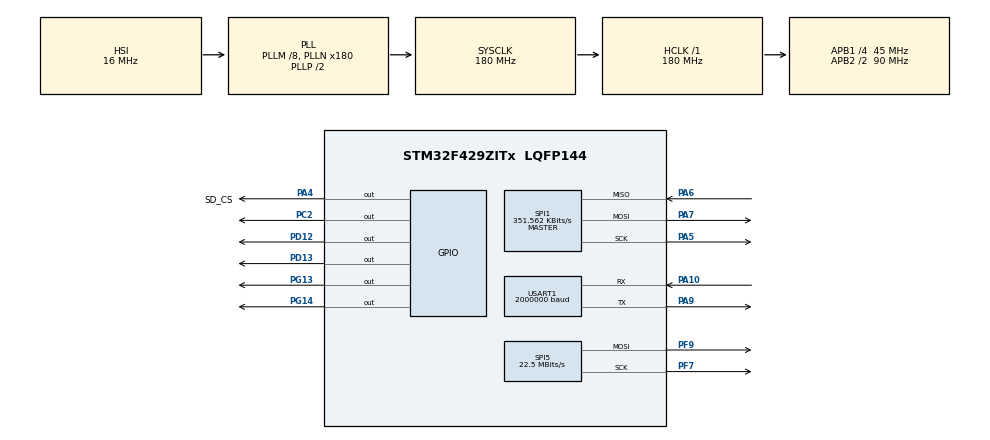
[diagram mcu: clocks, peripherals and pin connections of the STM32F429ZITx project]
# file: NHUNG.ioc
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Dma.Request0=SPI1_RX
Dma.Request1=SPI1_TX
Dma.Request2=USART1_TX
Dma.Request3=USART1_RX
Dma.Request4=SPI5_TX
Dma.SPI1_RX.0.Direction=DMA_PERIPH_TO_MEMORY
Dma.SPI1_RX.0.FIFOMode=DMA_FIFOMODE_DISABLE
Dma.SPI1_RX.0.Instance=DMA2_Stream0
Dma.SPI1_RX.0.MemDataAlignment=DMA_MDATAALIGN_BYTE
Dma.SPI1_RX.0.MemInc=DMA_MINC_ENABLE
Dma.SPI1_RX.0.Mode=DMA_NORMAL
Dma.SPI1_RX.0.PeriphDataAlignment=DMA_PDATAALIGN_BYTE
Dma.SPI1_RX.0.PeriphInc=DMA_PINC_DISABLE
Dma.SPI1_RX.0.Priority=DMA_PRIORITY_HIGH
Dma.SPI1_TX.1.Direction=DMA_MEMORY_TO_PERIPH
Dma.SPI1_TX.1.FIFOMode=DMA_FIFOMODE_DISABLE
Dma.SPI1_TX.1.Instance=DMA2_Stream3
Dma.SPI1_TX.1.MemDataAlignment=DMA_MDATAALIGN_BYTE
Dma.SPI1_TX.1.MemInc=DMA_MINC_ENABLE
Dma.SPI1_TX.1.Mode=DMA_NORMAL
Dma.SPI1_TX.1.PeriphDataAlignment=DMA_PDATAALIGN_BYTE
Dma.SPI1_TX.1.PeriphInc=DMA_PINC_DISABLE
Dma.SPI1_TX.1.Priority=DMA_PRIORITY_HIGH
Dma.SPI5_TX.4.Direction=DMA_MEMORY_TO_PERIPH
Dma.SPI5_TX.4.FIFOMode=DMA_FIFOMODE_DISABLE
Dma.SPI5_TX.4.Instance=DMA2_Stream4
Dma.SPI5_TX.4.MemDataAlignment=DMA_MDATAALIGN_BYTE
Dma.SPI5_TX.4.MemInc=DMA_MINC_ENABLE
Dma.SPI5_TX.4.Mode=DMA_NORMAL
Dma.SPI5_TX.4.PeriphDataAlignment=DMA_PDATAALIGN_BYTE
Dma.SPI5_TX.4.PeriphInc=DMA_PINC_DISABLE
Dma.SPI5_TX.4.Priority=DMA_PRIORITY_LOW
Dma.USART1_RX.3.Direction=DMA_PERIPH_TO_MEMORY
Dma.USART1_RX.3.FIFOMode=DMA_FIFOMODE_DISABLE
Dma.USART1_RX.3.Instance=DMA2_Stream2
Dma.USART1_RX.3.MemDataAlignment=DMA_MDATAALIGN_BYTE
Dma.USART1_RX.3.MemInc=DMA_MINC_ENABLE
Dma.USART1_RX.3.Mode=DMA_CIRCULAR
Dma.USART1_RX.3.PeriphDataAlignment=DMA_PDATAALIGN_BYTE
Dma.USART1_RX.3.PeriphInc=DMA_PINC_DISABLE
Dma.USART1_RX.3.Priority=DMA_PRIORITY_LOW
Dma.USART1_TX.2.Direction=DMA_MEMORY_TO_PERIPH
Dma.USART1_TX.2.FIFOMode=DMA_FIFOMODE_DISABLE
Dma.USART1_TX.2.Instance=DMA2_Stream7
Dma.USART1_TX.2.MemDataAlignment=DMA_MDATAALIGN_BYTE
Dma.USART1_TX.2.MemInc=DMA_MINC_ENABLE
Dma.USART1_TX.2.Mode=DMA_NORMAL
Dma.USART1_TX.2.PeriphDataAlignment=DMA_PDATAALIGN_BYTE
Dma.USART1_TX.2.PeriphInc=DMA_PINC_DISABLE
Dma.USART1_TX.2.Priority=DMA_PRIORITY_LOW
FATFS._USE_EXPAND=0
FATFS._USE_LABEL=1
FATFS._USE_LFN=3
FREERTOS.Tasks01=defaultTask,24,128,StartDefaultTask,Default,NULL,Dynamic,NULL,NULL
FREERTOS.configCHECK_FOR_STACK_OVERFLOW=2
FREERTOS.configTOTAL_HEAP_SIZE=65536
FREERTOS.configUSE_MALLOC_FAILED_HOOK=1
FREERTOS.configUSE_NEWLIB_REENTRANT=1
Mcu.Family=STM32F4
Mcu.Name=STM32F429ZITx
Mcu.Package=LQFP144
NVIC.DMA2_Stream0_IRQn=true\:5\:0\:false\:true\:true\:2\:true\:false\:true\:true
NVIC.DMA2_Stream2_IRQn=true\:5\:0\:false\:false\:true\:true\:false\:true\:true
NVIC.DMA2_Stream3_IRQn=true\:5\:0\:false\:true\:true\:3\:true\:false\:true\:true
NVIC.DMA2_Stream4_IRQn=true\:5\:0\:false\:false\:true\:true\:false\:true\:true
NVIC.DMA2_Stream7_IRQn=true\:5\:0\:false\:false\:true\:true\:false\:true\:true
NVIC.PriorityGroup=NVIC_PRIORITYGROUP_4
NVIC.SPI1_IRQn=true\:5\:0\:false\:true\:true\:1\:true\:true\:true\:true
NVIC.TIM6_DAC_IRQn=true\:15\:0\:false\:false\:true\:false\:false\:true\:true
NVIC.TimeBase=TIM6_DAC_IRQn
NVIC.TimeBaseIP=TIM6
NVIC.USART1_IRQn=true\:5\:0\:false\:false\:true\:true\:true\:true\:true
PA10.Mode=Asynchronous
PA10.Signal=USART1_RX
PA13.Mode=Serial_Wire
PA13.Signal=SYS_JTMS-SWDIO
PA14.Mode=Serial_Wire
PA14.Signal=SYS_JTCK-SWCLK
PA4.GPIO_Label=SD_CS
PA4.PinState=GPIO_PIN_SET
PA4.Signal=GPIO_Output
PA5.Mode=Full_Duplex_Master
PA5.Signal=SPI1_SCK
PA6.Mode=Full_Duplex_Master
PA6.Signal=SPI1_MISO
PA7.Mode=Full_Duplex_Master
PA7.Signal=SPI1_MOSI
PA9.Mode=Asynchronous
PA9.Signal=USART1_TX
PC2.Signal=GPIO_Output
PD12.Signal=GPIO_Output
PD13.Signal=GPIO_Output
PF7.Mode=TX_Only_Simplex_Unidirect_Master
PF7.Signal=SPI5_SCK
PF9.Mode=TX_Only_Simplex_Unidirect_Master
PF9.Signal=SPI5_MOSI
PG13.Signal=GPIO_Output
PG14.Signal=GPIO_Output
PH0/OSC_IN.Mode=HSE-External-Oscillator
PH0/OSC_IN.Signal=RCC_OSC_IN
PH1/OSC_OUT.Mode=HSE-External-Oscillator
PH1/OSC_OUT.Signal=RCC_OSC_OUT
ProjectManager.HeapSize=0x200
ProjectManager.StackSize=0x400
ProjectManager.TargetToolchain=STM32CubeIDE
RCC.48MHZClocksFreq_Value=90000000
RCC.AHBFreq_Value=180000000
RCC.APB1CLKDivider=RCC_HCLK_DIV4
RCC.APB1Freq_Value=45000000
RCC.APB1TimFreq_Value=90000000
RCC.APB2CLKDivider=RCC_HCLK_DIV2
RCC.APB2Freq_Value=90000000
RCC.APB2TimFreq_Value=180000000
RCC.CortexFreq_Value=180000000
RCC.HCLKFreq_Value=180000000
RCC.HSE_VALUE=25000000
RCC.HSI_VALUE=16000000
RCC.LSE_VALUE=32768
RCC.PLLM=8
RCC.PLLN=180
RCC.SYSCLKFreq_VALUE=180000000
RCC.SYSCLKSource=RCC_SYSCLKSOURCE_PLLCLK
RCC.VCOOutputFreq_Value=360000000
SPI1.BaudRatePrescaler=SPI_BAUDRATEPRESCALER_256
SPI1.CalculateBaudRate=351.562 KBits/s
SPI1.Direction=SPI_DIRECTION_2LINES
SPI1.Mode=SPI_MODE_MASTER
SPI1.VirtualType=VM_MASTER
SPI5.BaudRatePrescaler=SPI_BAUDRATEPRESCALER_4
SPI5.CalculateBaudRate=22.5 MBits/s
SPI5.Direction=SPI_DIRECTION_2LINES
SPI5.Mode=SPI_MODE_MASTER
SPI5.VirtualType=VM_MASTER
TIM7.Prescaler=89
USART1.BaudRate=2000000
USART1.VirtualMode=VM_ASYNC
VP_FATFS_VS_Generic.Mode=User_defined
VP_FREERTOS_VS_CMSIS_V2.Mode=CMSIS_V2
VP_SYS_VS_tim6.Mode=TIM6
VP_TIM7_VS_ClockSourceINT.Mode=Enable_Timer
board=custom

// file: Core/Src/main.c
/* USER CODE BEGIN Header */
/**
  ******************************************************************************
  * @file           : main.c
  * @brief          : Main program body
  ******************************************************************************
  * @attention
  *
  * Copyright (c) 2026 STMicroelectronics.
  * All rights reserved.
  *
  * This software is licensed under terms that can be found in the LICENSE file
  * in the root directory of this software component.
  * If no LICENSE file comes with this software, it is provided AS-IS.
  *
  ******************************************************************************
  */
/* USER CODE END Header */
#include "main.h"
#include "cmsis_os.h"
#include "fatfs.h"

/* USER CODE BEGIN Includes */
#include "app_main.h"
#include <string.h>
#include "ILI9341_STM32_Driver.h"
/* USER CODE END Includes */

SPI_HandleTypeDef hspi1;
SPI_HandleTypeDef hspi5;
DMA_HandleTypeDef hdma_spi1_rx;
DMA_HandleTypeDef hdma_spi1_tx;
DMA_HandleTypeDef hdma_spi5_tx;

TIM_HandleTypeDef htim7;

UART_HandleTypeDef huart1;
DMA_HandleTypeDef hdma_usart1_tx;
DMA_HandleTypeDef hdma_usart1_rx;

/* Definitions for defaultTask */
osThreadId_t defaultTaskHandle;
const osThreadAttr_t defaultTask_attributes = {
  .name = "defaultTask",
  .stack_size = 128 * 4,
  .priority = (osPriority_t) osPriorityNormal,
};
/* USER CODE BEGIN PV */
extern void LCD_SPI_TxCpltCallback(SPI_HandleTypeDef *hspi);
extern void SD_SPI_TxCpltCallback(SPI_HandleTypeDef *hspi);
/* USER CODE END PV */

void SystemClock_Config(void);
static void MX_GPIO_Init(void);
static void MX_DMA_Init(void);
static void MX_SPI1_Init(void);
static void MX_USART1_UART_Init(void);
static void MX_SPI5_Init(void);
static void MX_TIM7_Init(void);
void StartDefaultTask(void *argument);

static void MX_NVIC_Init(void);

int main(void)
{

  /* MCU Configuration--------------------------------------------------------*/

  /* Reset of all peripherals, Initializes the Flash interface and the Systick. */
  HAL_Init();

  /* Configure the system clock */
  SystemClock_Config();

  /* Initialize all configured peripherals */
  MX_GPIO_Init();
  MX_DMA_Init();
  MX_SPI1_Init();
  MX_FATFS_Init();
  MX_USART1_UART_Init();
  MX_SPI5_Init();
  MX_TIM7_Init();

  /* Initialize interrupts */
  MX_NVIC_Init();
  /* USER CODE BEGIN 2 */
  ILI9341_Init();
  ILI9341_SetRotation(SCREEN_HORIZONTAL_1);
  /* USER CODE END 2 */

  /* Init scheduler */
  osKernelInitialize();

  /* Create the thread(s) */
  /* creation of defaultTask */
  defaultTaskHandle = osThreadNew(StartDefaultTask, NULL, &defaultTask_attributes);

  /* Start scheduler */
  osKernelStart();

  /* We should never get here as control is now taken by the scheduler */

  /* Infinite loop */
  while (1)
  {

  }
}

void SystemClock_Config(void)
{
  RCC_OscInitTypeDef RCC_OscInitStruct = {0};
  RCC_ClkInitTypeDef RCC_ClkInitStruct = {0};

  /** Configure the main internal regulator output voltage
  */
  __HAL_RCC_PWR_CLK_ENABLE();
  __HAL_PWR_VOLTAGESCALING_CONFIG(PWR_REGULATOR_VOLTAGE_SCALE1);

  /** Initializes the RCC Oscillators according to the specified parameters
  * in the RCC_OscInitTypeDef structure.
  */
  RCC_OscInitStruct.OscillatorType = RCC_OSCILLATORTYPE_HSI;
  RCC_OscInitStruct.HSIState = RCC_HSI_ON;
  RCC_OscInitStruct.HSICalibrationValue = RCC_HSICALIBRATION_DEFAULT;
  RCC_OscInitStruct.PLL.PLLState = RCC_PLL_ON;
  RCC_OscInitStruct.PLL.PLLSource = RCC_PLLSOURCE_HSI;
  RCC_OscInitStruct.PLL.PLLM = 8;
  RCC_OscInitStruct.PLL.PLLN = 180;
  RCC_OscInitStruct.PLL.PLLP = RCC_PLLP_DIV2;
  RCC_OscInitStruct.PLL.PLLQ = 4;
  if (HAL_RCC_OscConfig(&RCC_OscInitStruct) != HAL_OK)
  {
    Error_Handler();
  }

  /** Activate the Over-Drive mode
  */
  if (HAL_PWREx_EnableOverDrive() != HAL_OK)
  {
    Error_Handler();
  }

  /** Initializes the CPU, AHB and APB buses clocks
  */
  RCC_ClkInitStruct.ClockType = RCC_CLOCKTYPE_HCLK|RCC_CLOCKTYPE_SYSCLK
                              |RCC_CLOCKTYPE_PCLK1|RCC_CLOCKTYPE_PCLK2;
  RCC_ClkInitStruct.SYSCLKSource = RCC_SYSCLKSOURCE_PLLCLK;
  RCC_ClkInitStruct.AHBCLKDivider = RCC_SYSCLK_DIV1;
  RCC_ClkInitStruct.APB1CLKDivider = RCC_HCLK_DIV4;
  RCC_ClkInitStruct.APB2CLKDivider = RCC_HCLK_DIV2;

  if (HAL_RCC_ClockConfig(&RCC_ClkInitStruct, FLASH_LATENCY_5) != HAL_OK)
  {
    Error_Handler();
  }
}

/**
  * @brief NVIC Configuration.
  * @retval None
  */
static void MX_NVIC_Init(void)
{
  /* SPI1_IRQn interrupt configuration */
  HAL_NVIC_SetPriority(SPI1_IRQn, 5, 0);
  HAL_NVIC_EnableIRQ(SPI1_IRQn);
  /* DMA2_Stream0_IRQn interrupt configuration */
  HAL_NVIC_SetPriority(DMA2_Stream0_IRQn, 5, 0);
  HAL_NVIC_EnableIRQ(DMA2_Stream0_IRQn);
  /* DMA2_Stream3_IRQn interrupt configuration */
  HAL_NVIC_SetPriority(DMA2_Stream3_IRQn, 5, 0);
  HAL_NVIC_EnableIRQ(DMA2_Stream3_IRQn);
}

static void MX_SPI1_Init(void)
{

  /* SPI1 parameter configuration*/
  hspi1.Instance = SPI1;
  hspi1.Init.Mode = SPI_MODE_MASTER;
  hspi1.Init.Direction = SPI_DIRECTION_2LINES;
  hspi1.Init.DataSize = SPI_DATASIZE_8BIT;
  hspi1.Init.CLKPolarity = SPI_POLARITY_LOW;
  hspi1.Init.CLKPhase = SPI_PHASE_1EDGE;
  hspi1.Init.NSS = SPI_NSS_SOFT;
  hspi1.Init.BaudRatePrescaler = SPI_BAUDRATEPRESCALER_256;
  hspi1.Init.FirstBit = SPI_FIRSTBIT_MSB;
  hspi1.Init.TIMode = SPI_TIMODE_DISABLE;
  hspi1.Init.CRCCalculation = SPI_CRCCALCULATION_DISABLE;
  hspi1.Init.CRCPolynomial = 10;
  if (HAL_SPI_Init(&hspi1) != HAL_OK)
  {
    Error_Handler();
  }

}

static void MX_SPI5_Init(void)
{

  /* SPI5 parameter configuration*/
  hspi5.Instance = SPI5;
  hspi5.Init.Mode = SPI_MODE_MASTER;
  hspi5.Init.Direction = SPI_DIRECTION_2LINES;
  hspi5.Init.DataSize = SPI_DATASIZE_8BIT;
  hspi5.Init.CLKPolarity = SPI_POLARITY_LOW;
  hspi5.Init.CLKPhase = SPI_PHASE_1EDGE;
  hspi5.Init.NSS = SPI_NSS_SOFT;
  hspi5.Init.BaudRatePrescaler = SPI_BAUDRATEPRESCALER_4;
  hspi5.Init.FirstBit = SPI_FIRSTBIT_MSB;
  hspi5.Init.TIMode = SPI_TIMODE_DISABLE;
  hspi5.Init.CRCCalculation = SPI_CRCCALCULATION_DISABLE;
  hspi5.Init.CRCPolynomial = 10;
  if (HAL_SPI_Init(&hspi5) != HAL_OK)
  {
    Error_Handler();
  }

}

static void MX_TIM7_Init(void)
{

  TIM_MasterConfigTypeDef sMasterConfig = {0};

  htim7.Instance = TIM7;
  htim7.Init.Prescaler = 89;
  htim7.Init.CounterMode = TIM_COUNTERMODE_UP;
  htim7.Init.Period = 65535;
  htim7.Init.AutoReloadPreload = TIM_AUTORELOAD_PRELOAD_DISABLE;
  if (HAL_TIM_Base_Init(&htim7) != HAL_OK)
  {
    Error_Handler();
  }
  sMasterConfig.MasterOutputTrigger = TIM_TRGO_RESET;
  sMasterConfig.MasterSlaveMode = TIM_MASTERSLAVEMODE_DISABLE;
  if (HAL_TIMEx_MasterConfigSynchronization(&htim7, &sMasterConfig) != HAL_OK)
  {
    Error_Handler();
  }

}

static void MX_USART1_UART_Init(void)
{

  huart1.Instance = USART1;
  huart1.Init.BaudRate = 2000000;
  huart1.Init.WordLength = UART_WORDLENGTH_8B;
  huart1.Init.StopBits = UART_STOPBITS_1;
  huart1.Init.Parity = UART_PARITY_NONE;
  huart1.Init.Mode = UART_MODE_TX_RX;
  huart1.Init.HwFlowCtl = UART_HWCONTROL_NONE;
  huart1.Init.OverSampling = UART_OVERSAMPLING_16;
  if (HAL_UART_Init(&huart1) != HAL_OK)
  {
    Error_Handler();
  }

}

static void MX_DMA_Init(void)
{

  /* DMA controller clock enable */
  __HAL_RCC_DMA2_CLK_ENABLE();

  /* DMA interrupt init */
  /* DMA2_Stream2_IRQn interrupt configuration */
  HAL_NVIC_SetPriority(DMA2_Stream2_IRQn, 5, 0);
  HAL_NVIC_EnableIRQ(DMA2_Stream2_IRQn);
  /* DMA2_Stream4_IRQn interrupt configuration */
  HAL_NVIC_SetPriority(DMA2_Stream4_IRQn, 5, 0);
  HAL_NVIC_EnableIRQ(DMA2_Stream4_IRQn);
  /* DMA2_Stream7_IRQn interrupt configuration */
  HAL_NVIC_SetPriority(DMA2_Stream7_IRQn, 5, 0);
  HAL_NVIC_EnableIRQ(DMA2_Stream7_IRQn);

}

static void MX_GPIO_Init(void)
{
  GPIO_InitTypeDef GPIO_InitStruct = {0};

  /* GPIO Ports Clock Enable */
  __HAL_RCC_GPIOF_CLK_ENABLE();
  __HAL_RCC_GPIOH_CLK_ENABLE();
  __HAL_RCC_GPIOC_CLK_ENABLE();
  __HAL_RCC_GPIOA_CLK_ENABLE();
  __HAL_RCC_GPIOD_CLK_ENABLE();
  __HAL_RCC_GPIOG_CLK_ENABLE();

  /*Configure GPIO pin Output Level */
  HAL_GPIO_WritePin(GPIOC, GPIO_PIN_2, GPIO_PIN_RESET);

  /*Configure GPIO pin Output Level */
  HAL_GPIO_WritePin(SD_CS_GPIO_Port, SD_CS_Pin, GPIO_PIN_SET);

  /*Configure GPIO pin Output Level */
  HAL_GPIO_WritePin(GPIOD, GPIO_PIN_12|GPIO_PIN_13, GPIO_PIN_RESET);

  /*Configure GPIO pin Output Level */
  HAL_GPIO_WritePin(GPIOG, GPIO_PIN_13|GPIO_PIN_14, GPIO_PIN_RESET);

  /*Configure GPIO pin : PC2 */
  GPIO_InitStruct.Pin = GPIO_PIN_2;
  GPIO_InitStruct.Mode = GPIO_MODE_OUTPUT_PP;
  GPIO_InitStruct.Pull = GPIO_NOPULL;
  GPIO_InitStruct.Speed = GPIO_SPEED_FREQ_LOW;
  HAL_GPIO_Init(GPIOC, &GPIO_InitStruct);

  /*Configure GPIO pin : SD_CS_Pin */
  GPIO_InitStruct.Pin = SD_CS_Pin;
  GPIO_InitStruct.Mode = GPIO_MODE_OUTPUT_PP;
  GPIO_InitStruct.Pull = GPIO_NOPULL;
  GPIO_InitStruct.Speed = GPIO_SPEED_FREQ_LOW;
  HAL_GPIO_Init(SD_CS_GPIO_Port, &GPIO_InitStruct);

  /*Configure GPIO pins : PD12 PD13 */
  GPIO_InitStruct.Pin = GPIO_PIN_12|GPIO_PIN_13;
  GPIO_InitStruct.Mode = GPIO_MODE_OUTPUT_PP;
  GPIO_InitStruct.Pull = GPIO_NOPULL;
  GPIO_InitStruct.Speed = GPIO_SPEED_FREQ_LOW;
  HAL_GPIO_Init(GPIOD, &GPIO_InitStruct);

  /*Configure GPIO pins : PG13 PG14 */
  GPIO_InitStruct.Pin = GPIO_PIN_13|GPIO_PIN_14;
  GPIO_InitStruct.Mode = GPIO_MODE_OUTPUT_PP;
  GPIO_InitStruct.Pull = GPIO_NOPULL;
  GPIO_InitStruct.Speed = GPIO_SPEED_FREQ_LOW;
  HAL_GPIO_Init(GPIOG, &GPIO_InitStruct);

}

/* USER CODE BEGIN 4 */

// Khai báo extern để main biết 2 hàm xử lý của thư viện nằm ở file khác
extern void ILI9341_SPI_TxCpltCallback(SPI_HandleTypeDef *hspi);
extern void SD_SPI_TxCpltCallback(SPI_HandleTypeDef *hspi);

void HAL_SPI_TxCpltCallback(SPI_HandleTypeDef *hspi)
{
    // Nếu ngắt xảy ra trên bộ SPI1 (Thẻ nhớ hoặc màn hình tùy cấu hình của bạn)
    if (hspi->Instance == SPI1)
    {
        // Gọi hàm xử lý của thư viện dùng SPI1
        // Ví dụ ở đây tôi giả định SPI1 cho Thẻ nhớ:
        SD_SPI_TxCpltCallback(hspi);
    }
    // Nếu ngắt xảy ra trên bộ SPI5
    else if (hspi->Instance == SPI5)
    {
        // Gọi hàm xử lý của thư viện dùng SPI5 (Màn hình ILI9341)
        LCD_SPI_TxCpltCallback(hspi);
    }
}

/* USER CODE END 4 */

void StartDefaultTask(void *argument)
{
  /* USER CODE BEGIN 5 */
	App_Main_Init();
	vTaskDelete(NULL);

  /* Infinite loop */
//  for(;;)
//  {
//    osDelay(1);
//  }
  /* USER CODE END 5 */
}

void HAL_TIM_PeriodElapsedCallback(TIM_HandleTypeDef *htim)
{
  if (htim->Instance == TIM6)
  {
    HAL_IncTick();
  }
}

void Error_Handler(void)
{
  __disable_irq();
  while (1)
  {
  }
}

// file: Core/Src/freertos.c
/* USER CODE BEGIN Header */
/**
  ******************************************************************************
  * File Name          : freertos.c
  * Description        : Code for freertos applications
  ******************************************************************************
  * @attention
  *
  * Copyright (c) 2026 STMicroelectronics.
  * All rights reserved.
  *
  * This software is licensed under terms that can be found in the LICENSE file
  * in the root directory of this software component.
  * If no LICENSE file comes with this software, it is provided AS-IS.
  *
  ******************************************************************************
  */
/* USER CODE END Header */

#include "FreeRTOS.h"
#include "task.h"
#include "main.h"

/* Hook prototypes */
void vApplicationStackOverflowHook(xTaskHandle xTask, signed char *pcTaskName);
void vApplicationMallocFailedHook(void);

/* USER CODE BEGIN 4 */
void vApplicationStackOverflowHook(xTaskHandle xTask, signed char *pcTaskName)
{
   /* Run time stack overflow checking is performed if
   configCHECK_FOR_STACK_OVERFLOW is defined to 1 or 2. This hook function is
   called if a stack overflow is detected. */
	while(1) { HAL_GPIO_TogglePin(GPIOG, GPIO_PIN_14); HAL_Delay(100); }
}
/* USER CODE END 4 */

/* USER CODE BEGIN 5 */
void vApplicationMallocFailedHook(void)
{
   /* vApplicationMallocFailedHook() will only be called if
   configUSE_MALLOC_FAILED_HOOK is set to 1 in FreeRTOSConfig.h. It is a hook
   function that will get called if a call to pvPortMalloc() fails.
   pvPortMalloc() is called internally by the kernel whenever a task, queue,
   timer or semaphore is created. It is also called by various parts of the
   demo application. If heap_1.c or heap_2.c are used, then the size of the
   heap available to pvPortMalloc() is defined by configTOTAL_HEAP_SIZE in
   FreeRTOSConfig.h, and the xPortGetFreeHeapSize() API function can be used
   to query the size of free heap space that remains (although it does not
   provide information on how the remaining heap might be fragmented). */
	while(1) { HAL_GPIO_TogglePin(GPIOG, GPIO_PIN_14); HAL_Delay(50); }
}
/* USER CODE END 5 */
